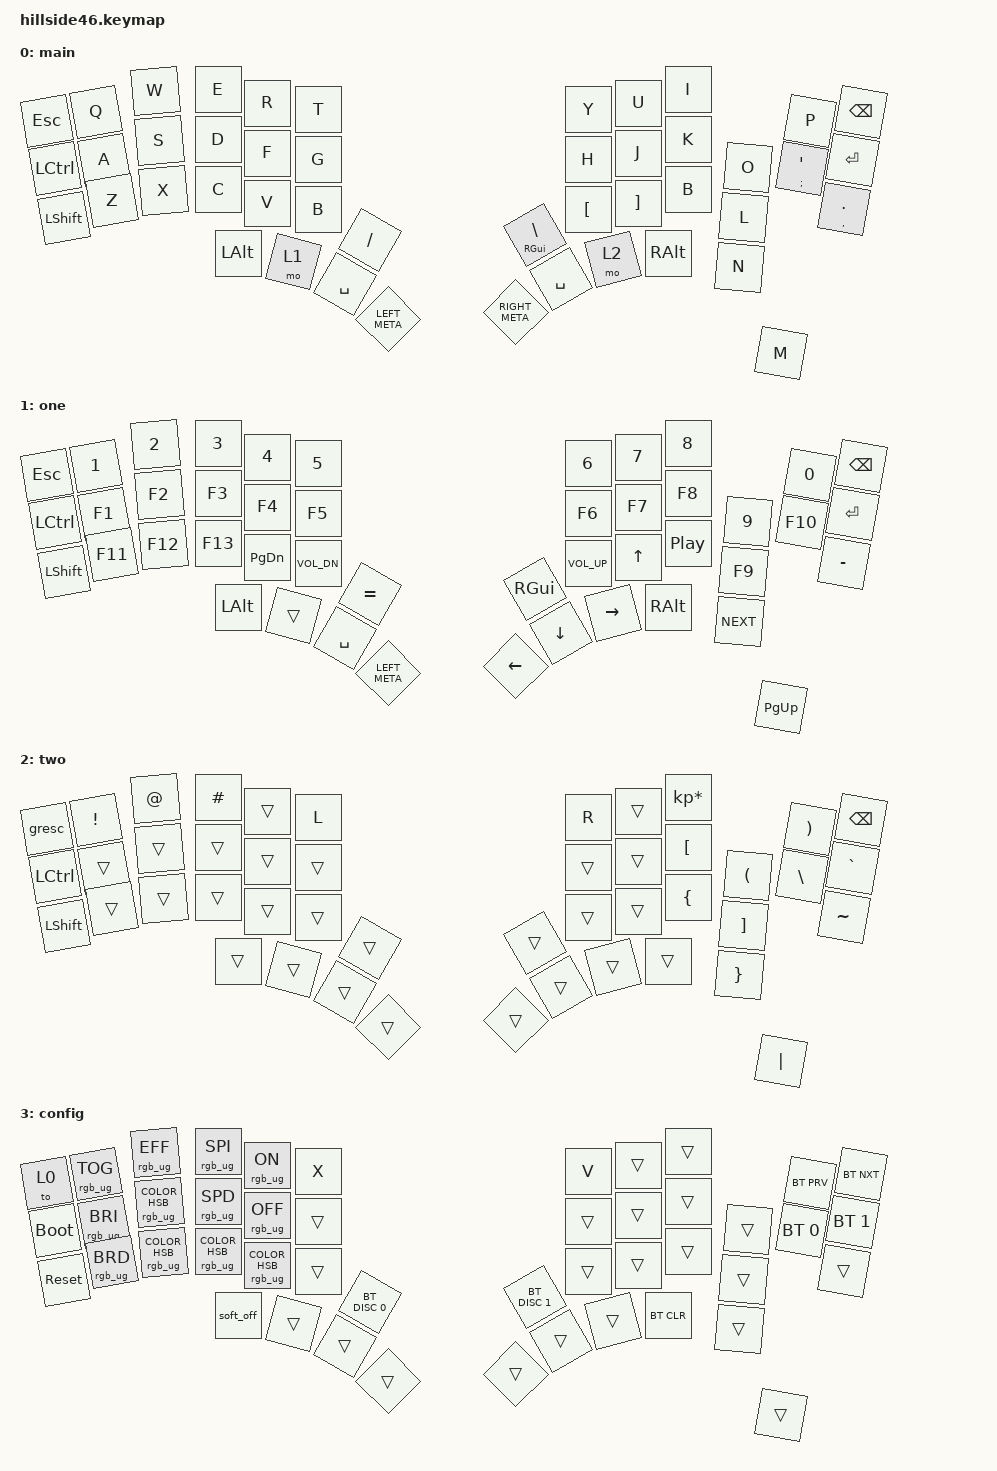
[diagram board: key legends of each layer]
/*
 * Copyright (c) 2022 The ZMK Contributors
 *
 * SPDX-License-Identifier: MIT
 */
// this is duplicated from hillside46/hillside46.keymap

#include <behaviors.dtsi>
#include <dt-bindings/zmk/bt.h>
#include <dt-bindings/zmk/keys.h>
#include <dt-bindings/zmk/rgb.h>

/ {
    combos {
        compatible = "zmk,combos";

        tilde {
            bindings = <&kp GRAVE>;
            key-positions = <12 13>;
        };

        config {
            bindings = <&tog 3>;
            key-positions = <39 24 44 37>;
        };

        tabb {
            bindings = <&kp TAB>;
            key-positions = <1 0>;
        };

        cap {
            bindings = <&caps_word>;
            key-positions = <25 24>;
        };
    };

    keymap {
        compatible = "zmk,keymap";

        main {
            bindings = <
&kp ESCAPE  &kp Q  &kp W  &kp E  &kp R         &kp T                                                                        &kp Y  &kp U     &kp I  &kp O          &kp P                       &kp BSPC
&kp LCTRL   &kp A  &kp S  &kp D  &kp F         &kp G                                                                        &kp H  &kp J     &kp K  &kp L          &mt SEMICOLON SINGLE_QUOTE  &kp ENTER
&kp LSHFT   &kp Z  &kp X  &kp C  &kp V         &kp B  &kp LEFT_BRACKET                                   &kp RIGHT_BRACKET  &kp B  &kp N     &kp M  &mt COMMA DOT  &kp SLASH                   &mt RIGHT_GUI BACKSLASH
                                 &kp LEFT_ALT  &mo 1  &kp SPACE         &kp LEFT_META    &kp RIGHT_META  &kp SPACE          &mo 2  &kp RALT
            >;
        };

        one {
            bindings = <
&kp ESCAPE  &kp N1   &kp N2   &kp N3   &kp N4         &kp N5                                                                 &kp N6     &kp N7      &kp N8     &kp N9     &kp N0     &kp BSPC
&kp LCTRL   &kp F1   &kp F2   &kp F3   &kp F4         &kp F5                                                                 &kp F6     &kp F7      &kp F8     &kp F9     &kp F10    &kp ENTER
&kp LSHFT   &kp F11  &kp F12  &kp F13  &kp PAGE_DOWN  &kp C_VOL_DN  &kp C_VOL_UP                             &kp UP_ARROW    &kp C_PP   &kp C_NEXT  &kp PG_UP  &kp MINUS  &kp EQUAL  &kp RIGHT_GUI
                                       &kp LEFT_ALT   &trans        &kp SPACE     &kp LEFT_META    &kp LEFT  &kp DOWN_ARROW  &kp RIGHT  &kp RALT
            >;
        };

        two {
            bindings = <
&gresc     &kp EXCL  &kp AT  &kp HASH  &trans  &kp L                                     &kp R     &trans    &kp KP_MULTIPLY  &kp LPAR   &kp RPAR  &kp BSPC
&kp LCTRL  &trans    &trans  &trans    &trans  &trans                                    &trans    &trans    &kp LBKT         &kp RBKT   &kp BSLH  &kp GRAVE
&kp LSHFT  &trans    &trans  &trans    &trans  &trans  &trans                    &trans  &kp LBRC  &kp RBRC  &kp PIPE         &kp TILDE  &trans    &trans
                                       &trans  &trans  &trans  &trans    &trans  &trans  &trans    &trans
            >;
        };

        config {
            bindings = <
&to 0        &rgb_ug RGB_TOG  &rgb_ug RGB_EFF                  &rgb_ug RGB_SPI                   &rgb_ug RGB_ON                    &kp X                                     &kp V   &trans      &trans  &trans  &bt BT_PRV     &bt BT_NXT
&bootloader  &rgb_ug RGB_BRI  &rgb_ug RGB_COLOR_HSB(0,0,100)   &rgb_ug RGB_SPD                   &rgb_ug RGB_OFF                   &trans                                    &trans  &trans      &trans  &trans  &bt BT_SEL 0   &bt BT_SEL 1
&sys_reset   &rgb_ug RGB_BRD  &rgb_ug RGB_COLOR_HSB(0,100,49)  &rgb_ug RGB_COLOR_HSB(118,72,50)  &rgb_ug RGB_COLOR_HSB(210,87,52)  &trans  &trans                    &trans  &trans  &trans      &trans  &trans  &bt BT_DISC 0  &bt BT_DISC 1
                                                                                                 &soft_off                         &trans  &trans  &trans    &trans  &trans  &trans  &bt BT_CLR
            >;
        };
    };
};
